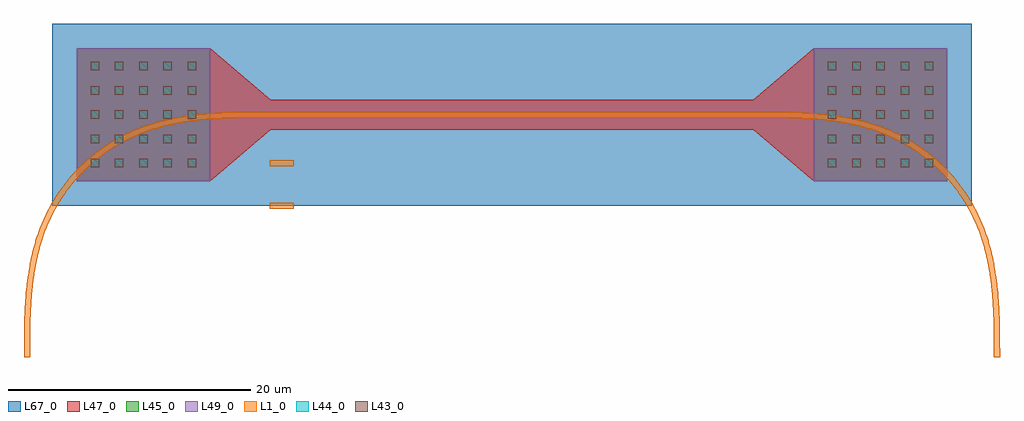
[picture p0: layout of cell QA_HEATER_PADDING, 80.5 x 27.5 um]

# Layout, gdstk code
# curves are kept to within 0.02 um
from math import pi, radians
import gdstk
lib = gdstk.Library(unit=1e-6, precision=1e-09)
def R(c, l, rs):  # rectangles x0, y0, x1, y1
    for r in rs: c.add(gdstk.rectangle(r[:2], r[2:], *l))
def A(c, l, x, y, w, h, nx, ny, dx, dy):  # array of equal rectangles
    R(c, l, [(x+i*dx, y+j*dy, x+i*dx+w, y+j*dy+h) for i in range(nx) for j in range(ny)])
def P(c, l, *ps):  # polygons
    for p in ps: c.add(gdstk.Polygon(p, *l))
L1_0 = (1, 0)
L43_0 = (43, 0)
L44_0 = (44, 0)
L45_0 = (45, 0)
L47_0 = (47, 0)
L49_0 = (49, 0)
L67_0 = (67, 0)

straight_heater_metal_un = lib.new_cell('straight_heater_metal_undercut_gdsfactorypcomponentspwa_65945199')
R(straight_heater_metal_un, L1_0, [(0,-0.25,40,0.25)])
A(straight_heater_metal_un, L43_0, -14.75, -4.35, 0.7, 0.7, 5, 5, 2, 2)
A(straight_heater_metal_un, L43_0, 46.05, -4.35, 0.7, 0.7, 5, 5, 2, 2)
A(straight_heater_metal_un, L44_0, -14.75, -4.35, 0.7, 0.7, 5, 5, 2, 2)
A(straight_heater_metal_un, L44_0, 46.05, -4.35, 0.7, 0.7, 5, 5, 2, 2)
R(straight_heater_metal_un, L45_0, [(-15.9,-5.5,-4.9,5.5), (44.9,-5.5,55.9,5.5)])
P(straight_heater_metal_un, L47_0, [(-15.9,-5.5),(-15.9,5.5),(-4.9,5.5),(0.1,1.25),(39.9,1.25),(44.9,5.5),(55.9,5.5),(55.9,-5.5),(44.9,-5.5),(39.9,-1.25),(0.1,-1.25),(-4.9,-5.5)])
R(straight_heater_metal_un, L49_0, [(-15.9,-5.5,-4.9,5.5), (44.9,-5.5,55.9,5.5)])

heater_with_padding_wcsf = lib.new_cell('heater_with_padding_WCSFstrip_Mgdsfactorypcross_section_a10d5798')
R(heater_with_padding_wcsf, L67_0, [(-17.9,-7.5,57.9,7.5)])
heater_with_padding_wcsf.add(gdstk.Reference(straight_heater_metal_un, (0,0)))
heater_with_padding_wcsf.add(gdstk.Label('DRC_INTERCONNECTION', (0,0), layer=66, texttype=1))
heater_with_padding_wcsf.add(gdstk.Label('DRC_INTERCONNECTION', (40,0), layer=66, texttype=1))

bend_euler_gdsfactorypco = lib.new_cell('bend_euler_gdsfactorypcomponentspbendspbend_euler_R20_A_4a31ec39')
P(bend_euler_gdsfactorypco, L1_0, [(0,-0.25),(0,0.25),(3.237,0.286),(5.516,0.43),(6.58,0.557),(7.635,0.732),(8.677,0.962),(9.702,1.255),(10.579,1.568),(11.313,1.88),(12.027,2.233),(12.72,2.627),(13.389,3.061),(14.032,3.532),(14.647,4.039),(15.232,4.58),(15.873,5.254),(16.386,5.864),(16.939,6.611),(17.373,7.28),(17.767,7.973),(18.12,8.687),(18.432,9.421),(18.745,10.298),(19.038,11.323),(19.268,12.365),(19.443,13.42),(19.57,14.484),(19.714,16.763),(19.75,20),(20.25,20),(20.209,16.61),(20.054,14.299),(19.785,12.405),(19.587,11.467),(19.342,10.539),(19.043,9.624),(18.742,8.856),(18.397,8.106),(17.941,7.257),(17.429,6.441),(16.947,5.77),(16.338,5.024),(15.68,4.32),(14.976,3.662),(14.23,3.053),(13.559,2.571),(12.743,2.059),(11.894,1.603),(11.144,1.258),(10.376,0.957),(9.461,0.658),(8.533,0.413),(7.595,0.215),(5.701,-0.054),(3.39,-0.209)])

straight_gdsfactorypcomp = lib.new_cell('straight_gdsfactorypcomponentspwaveguidespstraight_L2_N_c18f3010')
R(straight_gdsfactorypcomp, L1_0, [(0,-0.25,2,0.25)])

qa_heater_padding = lib.new_cell('QA_HEATER_PADDING')
qa_heater_padding.add(gdstk.Reference(heater_with_padding_wcsf, (0,0)))
qa_heater_padding.add(gdstk.Reference(bend_euler_gdsfactorypco, (60,-20), rotation=pi/2))
qa_heater_padding.add(gdstk.Reference(bend_euler_gdsfactorypco, (0,0), rotation=pi))
qa_heater_padding.add(gdstk.Reference(straight_gdsfactorypcomp, (0,-4)))
qa_heater_padding.add(gdstk.Reference(straight_gdsfactorypcomp, (0,-7.5)))

lib.write_gds('QA_HEATER_PADDING.gds')
